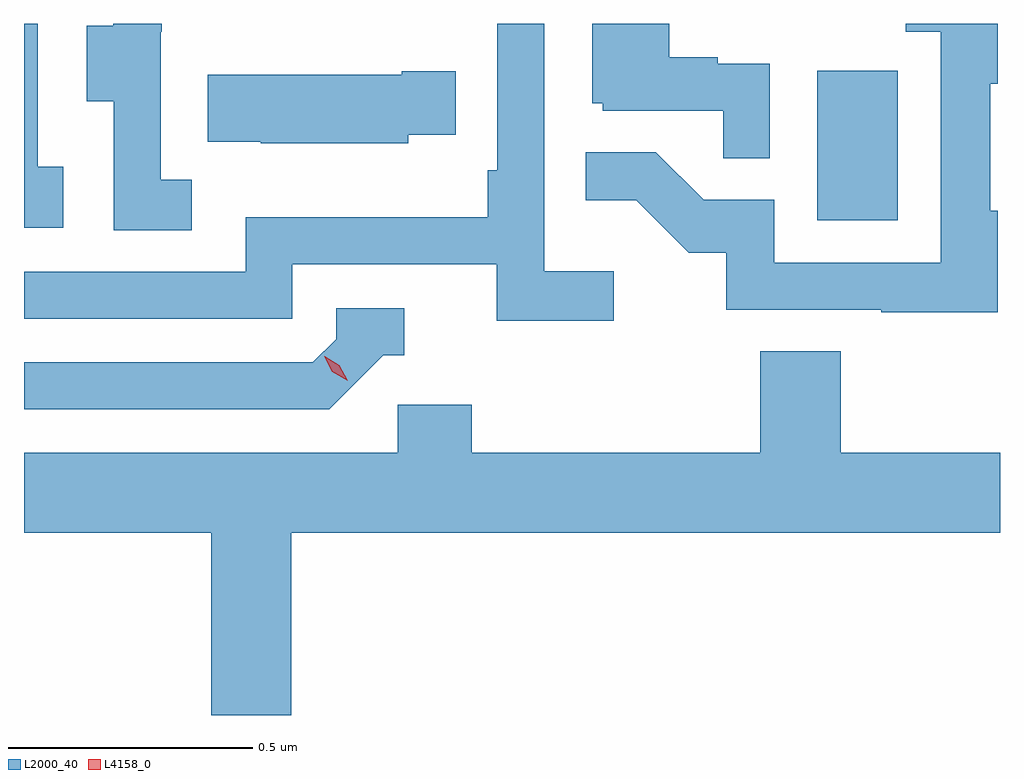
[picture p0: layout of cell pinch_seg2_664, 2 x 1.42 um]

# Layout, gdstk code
import gdstk
lib = gdstk.Library(unit=1e-6, precision=1e-09)
def R(c, l, rs):  # rectangles x0, y0, x1, y1
    for r in rs: c.add(gdstk.rectangle(r[:2], r[2:], *l))
def P(c, l, *ps):  # polygons
    for p in ps: c.add(gdstk.Polygon(p, *l))
L2000_40 = (2000, 40)
L4158_0 = (4158, 0)

pinch_seg2_664 = lib.new_cell('pinch_seg2_664')
R(pinch_seg2_664, L2000_40, [(1041.374,602.988,1041.538,603.295)])
P(pinch_seg2_664, L2000_40, [(1041.743,603.008),(1041.728,603.008),(1041.728,603.268),(1041.743,603.268),(1041.743,603.391),(1041.555,603.391),(1041.555,603.375),(1041.627,603.375),(1041.627,602.901),(1041.285,602.901),(1041.285,603.03),(1041.141,603.03),(1041.043,603.128),(1040.899,603.128),(1040.899,603.029),(1041.003,603.029),(1041.11,602.922),(1041.187,602.922),(1041.187,602.805),(1041.505,602.805),(1041.505,602.8),(1041.743,602.8)],
  [(1041.276,603.309),(1041.17,603.309),(1041.17,603.322),(1041.07,603.322),(1041.07,603.391),(1040.912,603.391),(1040.912,603.228),(1040.934,603.228),(1040.934,603.213),(1041.181,603.213),(1041.181,603.115),(1041.276,603.115)],
  [(1040.956,602.884),(1040.814,602.884),(1040.814,603.391),(1040.718,603.391),(1040.718,603.091),(1040.698,603.091),(1040.698,602.995),(1040.202,602.995),(1040.202,602.883),(1039.748,602.883),(1039.748,602.787),(1040.298,602.787),(1040.298,602.898),(1040.717,602.898),(1040.717,602.782),(1040.956,602.782)],
  [(1039.828,603.098),(1039.776,603.098),(1039.776,603.391),(1039.748,603.391),(1039.748,602.973),(1039.828,602.973)],
  [(1040.092,603.071),(1040.028,603.071),(1040.028,603.375),(1040.03,603.375),(1040.03,603.391),(1039.931,603.391),(1039.931,603.387),(1039.877,603.387),(1039.877,603.232),(1039.932,603.232),(1039.932,602.968),(1040.092,602.968)],
  [(1040.535,603.164),(1040.633,603.164),(1040.633,603.294),(1040.522,603.294),(1040.522,603.286),(1040.125,603.286),(1040.125,603.149),(1040.233,603.149),(1040.233,603.146),(1040.535,603.146)],
  [(1040.484,602.712),(1040.527,602.712),(1040.527,602.808),(1040.388,602.808),(1040.388,602.745),(1040.34,602.697),(1039.748,602.697),(1039.748,602.601),(1040.373,602.601)],
  [(1040.296,602.348),(1041.748,602.348),(1041.748,602.512),(1041.422,602.512),(1041.422,602.72),(1041.257,602.72),(1041.257,602.512),(1040.666,602.512),(1040.666,602.61),(1040.514,602.61),(1040.514,602.512),(1039.748,602.512),(1039.748,602.348),(1040.132,602.348),(1040.132,601.974),(1040.296,601.974)])
P(pinch_seg2_664, L4158_0, [(1040.411,602.659),(1040.38,602.678),(1040.363,602.71),(1040.363,602.71),(1040.364,602.71),(1040.394,602.691),(1040.411,602.659),(1040.411,602.659)])

lib.write_gds('pinch_seg2_664.gds')
